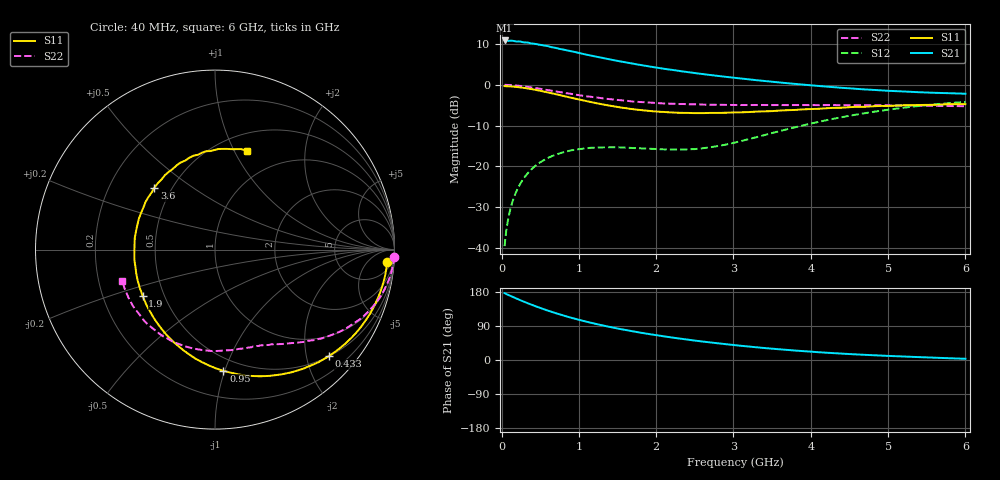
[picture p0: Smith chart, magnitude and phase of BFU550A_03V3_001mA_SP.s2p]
! Filename:  P:\Prog\Test\Noise\ATS_data\Testdata_Net\03 Spar\BFU550A_APG2013_35_C05_03p3V_001mA_SP_CM01_D.s2p
! Date/Time: Tue 16/Apr/2013 15:10:31
! BFU550A_APG2013_35_C05_03p3V_1to35mA_SP_CM01_Bias1_R.s2p
! MDIF S-parameter v. bias file
! BFU530A_APG2013_33_A09_08p0V_015mA_SP_CM01
! Date/time Mon Apr 15 14:22:32 2013
! bias mode 1
! bias variable = I_out
! VAR bias_var= 1
! VAR V_out= 3.3000
! VAR I_out= 1.0000
! VAR V_in= 0.7837
! VAR I_in= 0.0105
! Device data file deembeded for feedlines and parallel
! Original file: \03 Spar\BFU550A_APG2013_35_C05_03p3V_001mA_SP_CM01_R.s2p
! Feed-files: PR017V01_150413_Feed1.s2p, PR017V01_150413_Feed2.s2p
! Parallel-file: PR017V01_150413_Par.s2p
# MHz S MA R 50
!  Freq-MHz  S11-mag  S11-arg  S21-mag  S21-arg  S12-mag  S12-arg  S22-mag  S22-arg
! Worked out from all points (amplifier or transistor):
!   98 points, 40 MHz to 6 GHz, reference 50 ohm
!   highest |S21| = 10.9 dB at 40 MHz (marker M1)
!   |S21| within 3 dB of that: start of sweep to 986.6 MHz
!   unconditionally stable (mu >= 1): 2.333 GHz to 3.054 GHz
!   at 300 MHz: K = 0.15, MSG = 16.5 dB, |S12| = -22.6 dB
!   at 1.6 GHz: K = 0.69, MSG = 10.5 dB, |S12| = -15.4 dB
!   at 6 GHz: K = 0.90, MSG = 1.0 dB, |S12| = -4.2 dB
!   S11 on the Smith chart (normalised r, x): 40 MHz: 11, -22; 433 MHz: 0.51, -2.45; 950 MHz: 0.40, -0.99; 1.9 GHz: 0.38, -0.26; 3.6 GHz: 0.40, +0.36; 6 GHz: 0.68, +1.13
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40  0.9625 -4.2  3.497 176.4  0.01049 87.2  0.9982 -2.3
60  0.9605 -6.2  3.486 174.3  0.01581 85.8  0.9971 -3.5
90  0.9581 -9.3  3.455 171.4  0.02357 83.7  0.9944 -5.2
160  0.9475 -16.5  3.445 165.2  0.04139 79.0  0.9854 -9.2
240  0.929 -24.6  3.399 158.1  0.06052 74.1  0.9686 -13.6
320  0.9067 -32.4  3.311 151.4  0.07822 69.3  0.9476 -17.7
433  0.8686 -43.0  3.172 142.4  0.1005 63.1  0.9148 -22.9
600  0.8054 -58.1  2.977 130.3  0.1265 55.0  0.8601 -30.0
700  0.7671 -66.5  2.838 123.7  0.1386 50.8  0.8293 -33.6
950  0.6769 -86.1  2.521 108.9  0.1593 42.4  0.758 -41.2
1050  0.6454 -93.2  2.397 103.5  0.1643 39.8  0.7333 -43.7
1250  0.589 -107.1  2.187 93.9  0.1708 35.5  0.6945 -48.3
1450  0.5446 -120.1  2.005 85.2  0.1712 32.8  0.6591 -52.5
1700  0.502 -135.4  1.817 75.7  0.1675 31.9  0.6226 -57.5
1900  0.4796 -147.1  1.686 68.7  0.1645 32.3  0.6064 -61.2
2050  0.4665 -155.5  1.599 64.0  0.162 34.0  0.5938 -63.8
2500  0.4494 -178.9  1.392 51.2  0.1626 43.0  0.5764 -72.5
3100  0.4597 153.7  1.194 37.5  0.2043 57.0  0.5646 -85.3
3600  0.4832 134.5  1.067 28.2  0.2704 60.9  0.5644 -97.1
4100  0.5076 117.5  0.9676 20.6  0.3507 58.5  0.563 -110.0
5200  0.5609 88.1  0.8279 9.2  0.5237 44.0  0.5547 -139.6
6000  0.5786 72.0  0.777 3.3  0.616 31.4  0.546 -161.6
